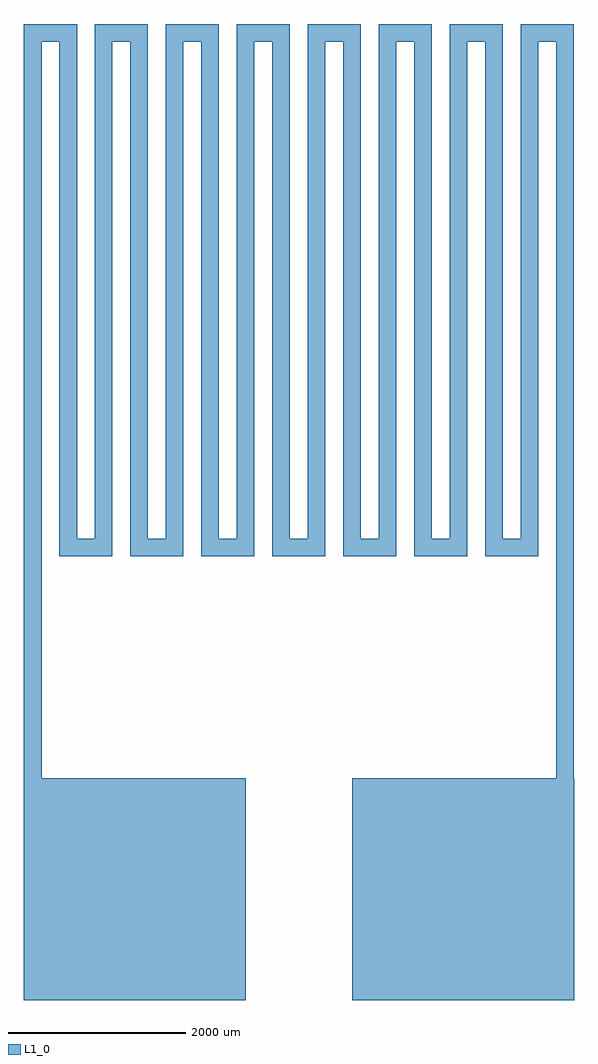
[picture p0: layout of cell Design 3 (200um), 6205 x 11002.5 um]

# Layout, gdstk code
import gdstk
lib = gdstk.Library(unit=1e-6, precision=1e-09)
def R(c, l, rs):  # rectangles x0, y0, x1, y1
    for r in rs: c.add(gdstk.rectangle(r[:2], r[2:], *l))
def P(c, l, *ps):  # polygons
    for p in ps: c.add(gdstk.Polygon(p, *l))
L1_0 = (1, 0)

connector_200um = lib.new_cell('connector 200um')
R(connector_200um, L1_0, [(-75,-75,125,125)])

interdigitated_electrode = lib.new_cell('Interdigitated electrode 100um2')
R(interdigitated_electrode, L1_0, [(-75,4500,125,10500)])

sensing_unit = lib.new_cell('Sensing unit')
r = gdstk.Reference(connector_200um, (600,4575)); r.repetition = gdstk.Repetition(7, 2, v1=(800,0), v2=(0,0)); sensing_unit.add(r)
r = gdstk.Reference(connector_200um, (200,10375)); r.repetition = gdstk.Repetition(8, 2, v1=(800,0), v2=(0,0)); sensing_unit.add(r)
r = gdstk.Reference(interdigitated_electrode, (0,0)); r.repetition = gdstk.Repetition(16, 2, v1=(400,0), v2=(0,0)); sensing_unit.add(r)

design_3__200um_ = lib.new_cell('Design 3 (200um)')
P(design_3__200um_, L1_0, [(-2675,3703),(-2875,3703),(-2875,-1302.5),(-370,-1302.5),(-370,1197.5),(-2675,1197.5)],
  [(3130,3702),(3130,1197.5),(830,1197.5),(830,-1302.5),(3330,-1302.5),(3325,3702)])
design_3__200um_.add(gdstk.Reference(sensing_unit, (-2800,-800)))

lib.write_gds('Design_3__200um_.gds')
